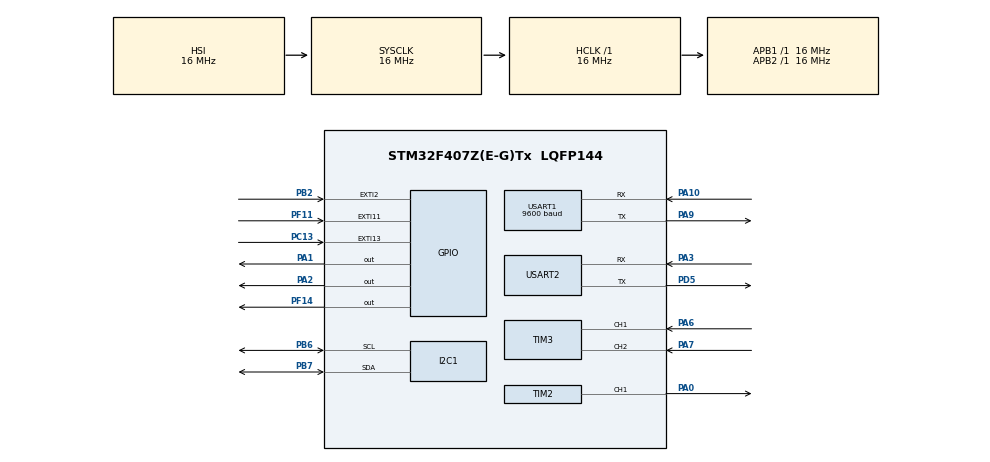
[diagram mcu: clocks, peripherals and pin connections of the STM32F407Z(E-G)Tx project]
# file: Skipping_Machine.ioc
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Dma.Request0=USART2_RX
Dma.USART2_RX.0.Direction=DMA_PERIPH_TO_MEMORY
Dma.USART2_RX.0.FIFOMode=DMA_FIFOMODE_DISABLE
Dma.USART2_RX.0.Instance=DMA1_Stream5
Dma.USART2_RX.0.MemDataAlignment=DMA_MDATAALIGN_BYTE
Dma.USART2_RX.0.MemInc=DMA_MINC_ENABLE
Dma.USART2_RX.0.Mode=DMA_NORMAL
Dma.USART2_RX.0.PeriphDataAlignment=DMA_PDATAALIGN_BYTE
Dma.USART2_RX.0.PeriphInc=DMA_PINC_DISABLE
Dma.USART2_RX.0.Priority=DMA_PRIORITY_HIGH
Mcu.Family=STM32F4
Mcu.Name=STM32F407Z(E-G)Tx
Mcu.Package=LQFP144
NVIC.DMA1_Stream5_IRQn=true\:0\:0\:false\:false\:true\:false\:true
NVIC.EXTI15_10_IRQn=true\:0\:0\:true\:false\:true\:true\:true
NVIC.EXTI2_IRQn=true\:4\:0\:true\:false\:true\:true\:true
NVIC.PriorityGroup=NVIC_PRIORITYGROUP_4
NVIC.TIM4_IRQn=true\:2\:0\:true\:false\:true\:true\:true
NVIC.USART1_IRQn=true\:3\:0\:true\:false\:true\:true\:true
PA0-WKUP.Signal=S_TIM2_CH1_ETR
PA1.Signal=GPIO_Output
PA10.Mode=Asynchronous
PA10.Signal=USART1_RX
PA2.Signal=GPIO_Output
PA3.Mode=Asynchronous
PA3.Signal=USART2_RX
PA6.Signal=S_TIM3_CH1
PA7.Signal=S_TIM3_CH2
PA9.Mode=Asynchronous
PA9.Signal=USART1_TX
PB2.GPIO_PuPd=GPIO_PULLUP
PB2.Signal=GPXTI2
PB6.Mode=I2C
PB6.Signal=I2C1_SCL
PB7.Mode=I2C
PB7.Signal=I2C1_SDA
PC13-ANTI_TAMP.GPIO_ModeDefaultEXTI=GPIO_MODE_IT_FALLING
PC13-ANTI_TAMP.GPIO_PuPd=GPIO_PULLUP
PC13-ANTI_TAMP.Signal=GPXTI13
PD5.Mode=Asynchronous
PD5.Signal=USART2_TX
PF11.GPIO_PuPd=GPIO_NOPULL
PF11.Signal=GPXTI11
PF14.Signal=GPIO_Output
ProjectManager.HeapSize=0x200
ProjectManager.StackSize=0x400
ProjectManager.TargetToolchain=STM32CubeIDE
RCC.AHBFreq_Value=16000000
RCC.APB1Freq_Value=16000000
RCC.APB2Freq_Value=16000000
RCC.CortexFreq_Value=16000000
RCC.HSE_VALUE=25000000
RCC.HSI_VALUE=16000000
RCC.LSE_VALUE=32768
RCC.SYSCLKFreq_VALUE=16000000
RCC.VCOOutputFreq_Value=192000000
SH.S_TIM2_CH1_ETR.0=TIM2_CH1,PWM Generation1 CH1
SH.S_TIM3_CH1.0=TIM3_CH1,Encoder_Interface
SH.S_TIM3_CH2.0=TIM3_CH2,Encoder_Interface
TIM2.Channel-PWM\ Generation1\ CH1=TIM_CHANNEL_1
TIM2.Period=16000-1
TIM3.EncoderMode=TIM_ENCODERMODE_TI12
TIM3.IC1Filter=10
TIM3.IC2Filter=10
TIM4.Period=800-1
TIM4.Prescaler=100
USART1.BaudRate=9600
USART1.VirtualMode=VM_ASYNC
USART2.VirtualMode=VM_ASYNC
VP_TIM2_VS_ClockSourceINT.Mode=Internal
VP_TIM4_VS_ClockSourceINT.Mode=Internal
board=custom

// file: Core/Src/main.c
/* USER CODE BEGIN Header */
/**
 ******************************************************************************
 * @file           : main.c
 * @brief          : Main program body
 ******************************************************************************
 * @attention
 *
 * Copyright (c) 2025 STMicroelectronics.
 * All rights reserved.
 *
 * This software is licensed under terms that can be found in the LICENSE file
 * in the root directory of this software component.
 * If no LICENSE file comes with this software, it is provided AS-IS.
 *
 ******************************************************************************
 */
/* USER CODE END Header */
#include "main.h"

/* USER CODE BEGIN Includes */
#include "pid.h"
#include <math.h>
#include <stdbool.h>
#include <stdio.h>
#include <stdarg.h>
#include <string.h>
/* USER CODE END Includes */

/* USER CODE BEGIN PD */
#define UART_TIMEOUT 100
#define ACK_BYTE 0x06
#define NAK_BYTE 0x15
#define RX_BUF_SIZE 128
#define ENQ_BYTE 0x05
#define ETX_BYTE 0x03
/* USER CODE END PD */

I2C_HandleTypeDef hi2c1;

TIM_HandleTypeDef htim2;
TIM_HandleTypeDef htim3;
TIM_HandleTypeDef htim4;

UART_HandleTypeDef huart1;
UART_HandleTypeDef huart2;
DMA_HandleTypeDef hdma_usart2_rx;

/* USER CODE BEGIN PV */
const float max_v = 400.0f;
const int encoder_ppr = 13;
const int encoder_decoder_multipier = 4;
const int counts_per_revolution = encoder_ppr * encoder_decoder_multipier;
const float speed_factor = 60.0f / (float)counts_per_revolution / 0.005f;

const GPIO_t AIN1 = {GPIOA, GPIO_PIN_1};
const GPIO_t AIN2 = {GPIOA, GPIO_PIN_2};
const GPIO_t STBY = {GPIOF, GPIO_PIN_14};
const GPIO_t Rotate_Encoder_A = {GPIOB, GPIO_PIN_2};
const GPIO_t Rotate_Encoder_B = {GPIOF, GPIO_PIN_11};

bool execute = false;
static uint8_t rx_byte;
static char rx_buf[RX_BUF_SIZE];
static uint16_t rx_index;
pid_t motor;

uint32_t cnt_prev = 0;
uint32_t cnt_prev2 = 0;
uint32_t cnt_now;
uint32_t cnt_now2;
int32_t delta_cnt;
float speed_rpm;
/* USER CODE END PV */

void SystemClock_Config(void);
static void MX_GPIO_Init(void);
static void MX_DMA_Init(void);
static void MX_I2C1_Init(void);
static void MX_TIM2_Init(void);
static void MX_USART1_UART_Init(void);
static void MX_USART2_UART_Init(void);
static void MX_TIM3_Init(void);
static void MX_TIM4_Init(void);
/* USER CODE BEGIN PFP */
bool processReceivedLine(const char *line);
void HAL_UART_RxCpltCallback(UART_HandleTypeDef *huart);
void update_output(float out);
void HAL_TIM_IC_CaptureCallback(TIM_HandleTypeDef *htim);
void HAL_TIM_ElapsedCallback(TIM_HandleTypeDef *htim);
void myprintf(UART_HandleTypeDef *huart, const char *format, ...);

/* USER CODE END PFP */

int main(void)
{

  /* MCU Configuration--------------------------------------------------------*/

  /* Reset of all peripherals, Initializes the Flash interface and the Systick. */
  HAL_Init();

  /* Configure the system clock */
  SystemClock_Config();

  /* Initialize all configured peripherals */
  MX_GPIO_Init();
  MX_DMA_Init();
  MX_I2C1_Init();
  MX_TIM2_Init();
  MX_USART1_UART_Init();
  MX_USART2_UART_Init();
  MX_TIM3_Init();
  MX_TIM4_Init();
  /* USER CODE BEGIN 2 */
	HAL_UART_Receive_IT(&huart1, &rx_byte, 1);
	HAL_TIM_Encoder_Start(&htim3, TIM_CHANNEL_ALL);

	HAL_TIM_Base_Start_IT(&htim4);

	motor.target = 90.0f;
	myprintf(&huart2, "t1.txt=\"%.2fRPM\"\xff\xff\xff", motor.target);

	motor.pid_mode = DELTA_PID;
	motor.p = 6;
	motor.i = 1.5;
	motor.d = 0;
	/* USER CODE END 2 */

	/* Infinite loop */
	while (1) {

    /* USER CODE BEGIN 3 */
		if (execute) {
			HAL_GPIO_WritePin(STBY.port, STBY.pin, GPIO_PIN_SET);
			__HAL_TIM_SetCompare(&htim2, TIM_CHANNEL_1, (uint32_t)(motor.target / max_v *__HAL_TIM_GET_AUTORELOAD(&htim2)));
			HAL_GPIO_WritePin(AIN1.port, AIN1.pin, GPIO_PIN_SET);
			HAL_GPIO_WritePin(AIN2.port, AIN2.pin, GPIO_PIN_RESET);
			motor.error[0] = 0;
			motor.error[1] = 0;
			motor.error[2] = 0;
			motor.out = 0;
			HAL_TIM_PWM_Start(&htim2, TIM_CHANNEL_1);
			while (execute) {
			}
		} else {
			HAL_GPIO_WritePin(AIN1.port, AIN1.pin, GPIO_PIN_RESET);
			HAL_GPIO_WritePin(AIN2.port, AIN2.pin, GPIO_PIN_RESET);
			HAL_TIM_PWM_Stop(&htim2, TIM_CHANNEL_1);
			while (!execute) {
			}
		}
	}
  /* USER CODE END 3 */
}

void SystemClock_Config(void)
{
  RCC_OscInitTypeDef RCC_OscInitStruct = {0};
  RCC_ClkInitTypeDef RCC_ClkInitStruct = {0};

  /** Configure the main internal regulator output voltage
  */
  __HAL_RCC_PWR_CLK_ENABLE();
  __HAL_PWR_VOLTAGESCALING_CONFIG(PWR_REGULATOR_VOLTAGE_SCALE1);
  /** Initializes the RCC Oscillators according to the specified parameters
  * in the RCC_OscInitTypeDef structure.
  */
  RCC_OscInitStruct.OscillatorType = RCC_OSCILLATORTYPE_HSI;
  RCC_OscInitStruct.HSIState = RCC_HSI_ON;
  RCC_OscInitStruct.HSICalibrationValue = RCC_HSICALIBRATION_DEFAULT;
  RCC_OscInitStruct.PLL.PLLState = RCC_PLL_NONE;
  if (HAL_RCC_OscConfig(&RCC_OscInitStruct) != HAL_OK)
  {
    Error_Handler();
  }
  /** Initializes the CPU, AHB and APB buses clocks
  */
  RCC_ClkInitStruct.ClockType = RCC_CLOCKTYPE_HCLK|RCC_CLOCKTYPE_SYSCLK
                              |RCC_CLOCKTYPE_PCLK1|RCC_CLOCKTYPE_PCLK2;
  RCC_ClkInitStruct.SYSCLKSource = RCC_SYSCLKSOURCE_HSI;
  RCC_ClkInitStruct.AHBCLKDivider = RCC_SYSCLK_DIV1;
  RCC_ClkInitStruct.APB1CLKDivider = RCC_HCLK_DIV1;
  RCC_ClkInitStruct.APB2CLKDivider = RCC_HCLK_DIV1;

  if (HAL_RCC_ClockConfig(&RCC_ClkInitStruct, FLASH_LATENCY_0) != HAL_OK)
  {
    Error_Handler();
  }
}

static void MX_I2C1_Init(void)
{

  hi2c1.Instance = I2C1;
  hi2c1.Init.ClockSpeed = 100000;
  hi2c1.Init.DutyCycle = I2C_DUTYCYCLE_2;
  hi2c1.Init.OwnAddress1 = 0;
  hi2c1.Init.AddressingMode = I2C_ADDRESSINGMODE_7BIT;
  hi2c1.Init.DualAddressMode = I2C_DUALADDRESS_DISABLE;
  hi2c1.Init.OwnAddress2 = 0;
  hi2c1.Init.GeneralCallMode = I2C_GENERALCALL_DISABLE;
  hi2c1.Init.NoStretchMode = I2C_NOSTRETCH_DISABLE;
  if (HAL_I2C_Init(&hi2c1) != HAL_OK)
  {
    Error_Handler();
  }

}

static void MX_TIM2_Init(void)
{

  TIM_ClockConfigTypeDef sClockSourceConfig = {0};
  TIM_MasterConfigTypeDef sMasterConfig = {0};
  TIM_OC_InitTypeDef sConfigOC = {0};

  htim2.Instance = TIM2;
  htim2.Init.Prescaler = 0;
  htim2.Init.CounterMode = TIM_COUNTERMODE_UP;
  htim2.Init.Period = 16000-1;
  htim2.Init.ClockDivision = TIM_CLOCKDIVISION_DIV1;
  htim2.Init.AutoReloadPreload = TIM_AUTORELOAD_PRELOAD_DISABLE;
  if (HAL_TIM_Base_Init(&htim2) != HAL_OK)
  {
    Error_Handler();
  }
  sClockSourceConfig.ClockSource = TIM_CLOCKSOURCE_INTERNAL;
  if (HAL_TIM_ConfigClockSource(&htim2, &sClockSourceConfig) != HAL_OK)
  {
    Error_Handler();
  }
  if (HAL_TIM_PWM_Init(&htim2) != HAL_OK)
  {
    Error_Handler();
  }
  sMasterConfig.MasterOutputTrigger = TIM_TRGO_RESET;
  sMasterConfig.MasterSlaveMode = TIM_MASTERSLAVEMODE_DISABLE;
  if (HAL_TIMEx_MasterConfigSynchronization(&htim2, &sMasterConfig) != HAL_OK)
  {
    Error_Handler();
  }
  sConfigOC.OCMode = TIM_OCMODE_PWM1;
  sConfigOC.Pulse = 0;
  sConfigOC.OCPolarity = TIM_OCPOLARITY_HIGH;
  sConfigOC.OCFastMode = TIM_OCFAST_DISABLE;
  if (HAL_TIM_PWM_ConfigChannel(&htim2, &sConfigOC, TIM_CHANNEL_1) != HAL_OK)
  {
    Error_Handler();
  }
  HAL_TIM_MspPostInit(&htim2);

}

static void MX_TIM3_Init(void)
{

  TIM_Encoder_InitTypeDef sConfig = {0};
  TIM_MasterConfigTypeDef sMasterConfig = {0};

  htim3.Instance = TIM3;
  htim3.Init.Prescaler = 0;
  htim3.Init.CounterMode = TIM_COUNTERMODE_UP;
  htim3.Init.Period = 65535;
  htim3.Init.ClockDivision = TIM_CLOCKDIVISION_DIV1;
  htim3.Init.AutoReloadPreload = TIM_AUTORELOAD_PRELOAD_DISABLE;
  sConfig.EncoderMode = TIM_ENCODERMODE_TI12;
  sConfig.IC1Polarity = TIM_ICPOLARITY_RISING;
  sConfig.IC1Selection = TIM_ICSELECTION_DIRECTTI;
  sConfig.IC1Prescaler = TIM_ICPSC_DIV1;
  sConfig.IC1Filter = 10;
  sConfig.IC2Polarity = TIM_ICPOLARITY_RISING;
  sConfig.IC2Selection = TIM_ICSELECTION_DIRECTTI;
  sConfig.IC2Prescaler = TIM_ICPSC_DIV1;
  sConfig.IC2Filter = 10;
  if (HAL_TIM_Encoder_Init(&htim3, &sConfig) != HAL_OK)
  {
    Error_Handler();
  }
  sMasterConfig.MasterOutputTrigger = TIM_TRGO_RESET;
  sMasterConfig.MasterSlaveMode = TIM_MASTERSLAVEMODE_DISABLE;
  if (HAL_TIMEx_MasterConfigSynchronization(&htim3, &sMasterConfig) != HAL_OK)
  {
    Error_Handler();
  }

}

static void MX_TIM4_Init(void)
{

  TIM_ClockConfigTypeDef sClockSourceConfig = {0};
  TIM_MasterConfigTypeDef sMasterConfig = {0};

  htim4.Instance = TIM4;
  htim4.Init.Prescaler = 100;
  htim4.Init.CounterMode = TIM_COUNTERMODE_UP;
  htim4.Init.Period = 800-1;
  htim4.Init.ClockDivision = TIM_CLOCKDIVISION_DIV1;
  htim4.Init.AutoReloadPreload = TIM_AUTORELOAD_PRELOAD_DISABLE;
  if (HAL_TIM_Base_Init(&htim4) != HAL_OK)
  {
    Error_Handler();
  }
  sClockSourceConfig.ClockSource = TIM_CLOCKSOURCE_INTERNAL;
  if (HAL_TIM_ConfigClockSource(&htim4, &sClockSourceConfig) != HAL_OK)
  {
    Error_Handler();
  }
  sMasterConfig.MasterOutputTrigger = TIM_TRGO_RESET;
  sMasterConfig.MasterSlaveMode = TIM_MASTERSLAVEMODE_DISABLE;
  if (HAL_TIMEx_MasterConfigSynchronization(&htim4, &sMasterConfig) != HAL_OK)
  {
    Error_Handler();
  }

}

static void MX_USART1_UART_Init(void)
{

  huart1.Instance = USART1;
  huart1.Init.BaudRate = 9600;
  huart1.Init.WordLength = UART_WORDLENGTH_8B;
  huart1.Init.StopBits = UART_STOPBITS_1;
  huart1.Init.Parity = UART_PARITY_NONE;
  huart1.Init.Mode = UART_MODE_TX_RX;
  huart1.Init.HwFlowCtl = UART_HWCONTROL_NONE;
  huart1.Init.OverSampling = UART_OVERSAMPLING_16;
  if (HAL_UART_Init(&huart1) != HAL_OK)
  {
    Error_Handler();
  }

}

static void MX_USART2_UART_Init(void)
{

  huart2.Instance = USART2;
  huart2.Init.BaudRate = 115200;
  huart2.Init.WordLength = UART_WORDLENGTH_8B;
  huart2.Init.StopBits = UART_STOPBITS_1;
  huart2.Init.Parity = UART_PARITY_NONE;
  huart2.Init.Mode = UART_MODE_TX_RX;
  huart2.Init.HwFlowCtl = UART_HWCONTROL_NONE;
  huart2.Init.OverSampling = UART_OVERSAMPLING_16;
  if (HAL_UART_Init(&huart2) != HAL_OK)
  {
    Error_Handler();
  }

}

static void MX_DMA_Init(void)
{

  /* DMA controller clock enable */
  __HAL_RCC_DMA1_CLK_ENABLE();

  /* DMA interrupt init */
  /* DMA1_Stream5_IRQn interrupt configuration */
  HAL_NVIC_SetPriority(DMA1_Stream5_IRQn, 0, 0);
  HAL_NVIC_EnableIRQ(DMA1_Stream5_IRQn);

}

static void MX_GPIO_Init(void)
{
  GPIO_InitTypeDef GPIO_InitStruct = {0};

  /* GPIO Ports Clock Enable */
  __HAL_RCC_GPIOC_CLK_ENABLE();
  __HAL_RCC_GPIOA_CLK_ENABLE();
  __HAL_RCC_GPIOB_CLK_ENABLE();
  __HAL_RCC_GPIOF_CLK_ENABLE();
  __HAL_RCC_GPIOD_CLK_ENABLE();

  /*Configure GPIO pin Output Level */
  HAL_GPIO_WritePin(GPIOA, GPIO_PIN_1|GPIO_PIN_2, GPIO_PIN_RESET);

  /*Configure GPIO pin Output Level */
  HAL_GPIO_WritePin(GPIOF, GPIO_PIN_14, GPIO_PIN_RESET);

  /*Configure GPIO pin : PC13 */
  GPIO_InitStruct.Pin = GPIO_PIN_13;
  GPIO_InitStruct.Mode = GPIO_MODE_IT_FALLING;
  GPIO_InitStruct.Pull = GPIO_PULLUP;
  HAL_GPIO_Init(GPIOC, &GPIO_InitStruct);

  /*Configure GPIO pins : PA1 PA2 */
  GPIO_InitStruct.Pin = GPIO_PIN_1|GPIO_PIN_2;
  GPIO_InitStruct.Mode = GPIO_MODE_OUTPUT_PP;
  GPIO_InitStruct.Pull = GPIO_NOPULL;
  GPIO_InitStruct.Speed = GPIO_SPEED_FREQ_LOW;
  HAL_GPIO_Init(GPIOA, &GPIO_InitStruct);

  /*Configure GPIO pin : PB2 */
  GPIO_InitStruct.Pin = GPIO_PIN_2;
  GPIO_InitStruct.Mode = GPIO_MODE_IT_RISING;
  GPIO_InitStruct.Pull = GPIO_PULLUP;
  HAL_GPIO_Init(GPIOB, &GPIO_InitStruct);

  /*Configure GPIO pin : PF11 */
  GPIO_InitStruct.Pin = GPIO_PIN_11;
  GPIO_InitStruct.Mode = GPIO_MODE_IT_RISING;
  GPIO_InitStruct.Pull = GPIO_NOPULL;
  HAL_GPIO_Init(GPIOF, &GPIO_InitStruct);

  /*Configure GPIO pin : PF14 */
  GPIO_InitStruct.Pin = GPIO_PIN_14;
  GPIO_InitStruct.Mode = GPIO_MODE_OUTPUT_PP;
  GPIO_InitStruct.Pull = GPIO_NOPULL;
  GPIO_InitStruct.Speed = GPIO_SPEED_FREQ_LOW;
  HAL_GPIO_Init(GPIOF, &GPIO_InitStruct);

  /* EXTI interrupt init*/
  HAL_NVIC_SetPriority(EXTI2_IRQn, 4, 0);
  HAL_NVIC_EnableIRQ(EXTI2_IRQn);

  HAL_NVIC_SetPriority(EXTI15_10_IRQn, 0, 0);
  HAL_NVIC_EnableIRQ(EXTI15_10_IRQn);

}

/* USER CODE BEGIN 4 */
bool processReceivedLine(const char *line) {
	float Kp, Ki, Kd;
	if (sscanf(line, "Kp=%f,Ki=%f,Kd=%f", &Kp, &Ki, &Kd) == 3) {
		pid_change_k(&motor, Kp, Ki, Kd);
		return true;
	}
	return false;
}
void HAL_UART_RxCpltCallback(UART_HandleTypeDef *huart) {
	if (huart == &huart1) {
		char c = (char)rx_byte;
		if (c == ENQ_BYTE) {
			execute = true;
			uint8_t rsp = ACK_BYTE;
			HAL_UART_Transmit(&huart1, &rsp, 1, UART_TIMEOUT);
			HAL_UART_Receive_IT(&huart1, &rx_byte, 1);
			return;
		}
		if (rx_index < RX_BUF_SIZE - 1) {
			rx_buf[rx_index++] = c;
		}
		if (rx_index >= 2 && rx_buf[rx_index - 2] == '\r' && rx_buf[rx_index - 1] == '\n') {
			rx_buf[rx_index - 2] = '\0';
			execute = false;
			bool ok = processReceivedLine(rx_buf);
			uint8_t rsp = ok ? ACK_BYTE : NAK_BYTE;
			HAL_UART_Transmit(&huart1, &rsp, 1, UART_TIMEOUT);
			rx_index = 0;
		}
		HAL_UART_Receive_IT(&huart1, &rx_byte, 1);
	}
}
void HAL_TIM_PeriodElapsedCallback(TIM_HandleTypeDef *htim) {
	if (htim == &htim4) {
		static int count = 0;
		uint32_t cnt_now = __HAL_TIM_GET_COUNTER(&htim3);
		int32_t delta = (int32_t)(cnt_now - cnt_prev);
		cnt_prev = cnt_now;
		float speed_rpm = delta * speed_factor / (-1850.0) * 89.42;
		motor.now = speed_rpm;
		if (count >= 400) {
			cnt_now2 = cnt_now;
			int32_t delta2 = (int32_t)(cnt_now2 - cnt_prev2);
			if (delta2 > (1 << 15)) {
				delta2 -= (1 << 16);
			} else if (delta2 < (-(1 << 15))) {
				delta2 += (1 << 16);
			}
			cnt_prev2 = cnt_now2;
			float speed_rpm2 = delta2 * speed_factor / 400 / (-1850.0) * 89.42;
			myprintf(&huart2, "t3.txt=\"%.2fRPM\"\xff\xff\xff", speed_rpm2);
			count = 0;
		} else {
			count++;
		}
		pid_cal(&motor);
		if (motor.out > max_v) {
			motor.out = max_v;
		} else if (motor.out < -max_v) {
			motor.out = -max_v;
		}
		update_output(motor.out);
	}
}
void update_output(float out) {
	if (fabs(out) > 150) {
		out = 150 * out / fabs(out);
	}
	float signed_new_duty = out / max_v;
	if (signed_new_duty > 1.0f) {
		signed_new_duty = 1.0f;
	} else if (signed_new_duty < -1.0f) {
		signed_new_duty = -1.0f;
	}
	if (signed_new_duty >= 0) {
		HAL_GPIO_WritePin(AIN1.port, AIN1.pin, GPIO_PIN_SET);
		HAL_GPIO_WritePin(AIN2.port, AIN2.pin, GPIO_PIN_RESET);
	} else if (signed_new_duty < 0) {
		HAL_GPIO_WritePin(AIN1.port, AIN1.pin, GPIO_PIN_RESET);
		HAL_GPIO_WritePin(AIN2.port, AIN2.pin, GPIO_PIN_SET);
	}
	__HAL_TIM_SetCompare(&htim2, TIM_CHANNEL_1, (uint32_t)(fabs(signed_new_duty) * __HAL_TIM_GET_AUTORELOAD(&htim2)));
}
void HAL_GPIO_EXTI_Callback(uint16_t GPIO_Pin) {
	if (GPIO_Pin == GPIO_PIN_2) {
		// PB2 rising edge: increment target
		if (execute) {
			return;
		}
		if (HAL_GPIO_ReadPin(Rotate_Encoder_B.port, Rotate_Encoder_B.pin) == GPIO_PIN_RESET) {
			motor.target += 1.0f;
		} else {
			motor.target -= 1.0f;
			if (motor.target < 50.0f) {
				motor.target = 130.0f;
			}
		}
		myprintf(&huart2, "t1.txt=\"%.2fRPM\"\xff\xff\xff", motor.target);
	} else if (GPIO_Pin == GPIO_PIN_11) {
		return;
	} else if (GPIO_Pin == GPIO_PIN_13) {
		static int cnt = 0;
		cnt++;
		if (cnt == 5) {
			execute = !execute;
			cnt = 0;
		}
	}
}
void myprintf(UART_HandleTypeDef *huart, const char *format, ...) {
	static char buffer[100];
	va_list args;
	va_start(args, format);
	vsprintf(buffer, format, args);
	va_end(args);
	//HAL_UART_Transmit_DMA(huart, (uint8_t *)buffer, strlen(buffer));
	HAL_UART_Transmit(huart, (uint8_t *)buffer, strlen(buffer),HAL_MAX_DELAY);
}
/* USER CODE END 4 */

void Error_Handler(void)
{
	__disable_irq();
	while (1) {
	}
}
